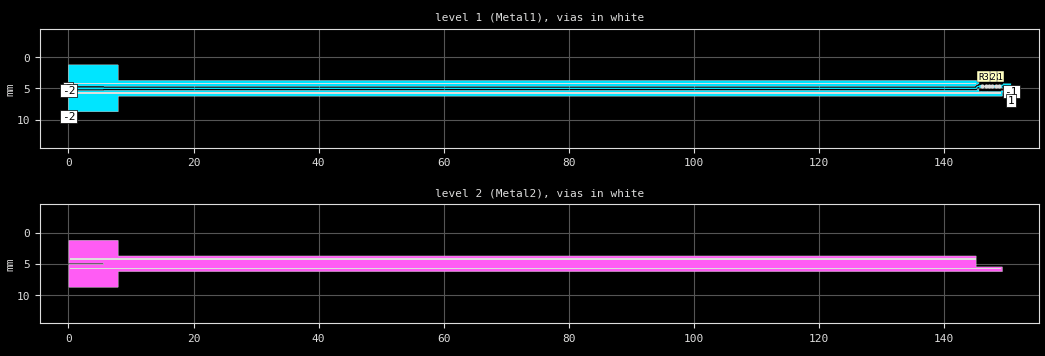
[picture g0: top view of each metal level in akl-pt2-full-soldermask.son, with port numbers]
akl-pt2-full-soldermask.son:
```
FTYP SONPROJ 18 ! Sonnet Project File
VER 17.56
HEADER
LIC antikernel2.1.50170 3cfdfeabd719 havequick azonenberg Level3Gold
DAT 01/07/2021 02:05:44
BUILT_BY_CREATED xgeom 17.56 12/23/2020 09:12:10
BUILT_BY_SAVED sonnet 17.56
MDATE 01/07/2021 02:05:44
HDATE 01/07/2021 02:05:44
ANN Created by dxfgeo, Sonnet Software Inc.
END HEADER
DIM
ANG DEG
CAP PF
CON /OH
FREQ GHZ
IND NH
LNG MM
RES OH
END DIM
CONTROL
VARSWP
OPTIONS  -dj
SPEED 1
CACHE_ABS 1
Q_ACC N
END CONTROL
GEO
TMET "Free Space" 0 FREESPACE 376.7303136 0 0 0
BMET "Free Space" 0 FREESPACE 376.7303136 0 0 0
MET "Copper 1oz thick" 1 TMM 58000000 0.5 0.035 2
MET "Copper 1oz" 2 NOR 58000000 0.5 0.035 
BOX 3 150.7 10 3014 800 20 0
      1 1 1 0 0 0 0 "Air"
      0.05 3.9 1 0.033 0 0 0 "Soldermask"
      0.1 3.3 1 0.005 0 0 0 "Panasonic F-777 42RV"
      1 1 1 0 0 0 0 "Air"
TECHLAY METAL Metal1 L1D0 -2 0 
1 0 0 T 637 1 1 100 100 0 0 0 Y
END
END
TECHLAY METAL Metal2 L2D0 -3 0 
2 0 1 N 600 1 1 100 100 0 0 0 Y
END
END
TECHLAY VIA Via1 L3D0 -4 0 
VIA POLYGON
2 0 -1 N 810 1 1 100 100 0 0 0 Y
TOLEVEL 1 RING NOCOVERS
END
END
LORGN 0 10 U 
POR1 BOX
POLY 2 1
0
2 50 0 0 0 -1.443289932e-15 5 
POR1 BOX
POLY 465 1
69
-2 50 0 0 0 0 2.9 
POR1 BOX
POLY 575 1
128
-2 50 0 0 0 0 7.1 
POR1 BOX
POLY 575 1
28
-1 50 0 0 0 150.7 5.5 
POR1 BOX
POLY 576 1
4
1 50 0 0 0 150.7 4.5 
SMD 1 "R1"
ID 377
GNDREF AUTO
SBOX 148.425 148.675 4.6625 4.7375
PBSHW N
LPOS 148.55 4.6625
TYPE SPARAM 1
SMDP 1 148.8 4.7 R 3 1 
EXSMDP
GNDREF AUTO
TERMW FEED
END EXSMDP
SMDP 1 148.3 4.7 L 4 2 
EXSMDP
GNDREF AUTO
TERMW FEED
END EXSMDP
END
SMD 1 "R2"
ID 382
GNDREF AUTO
SBOX 147.325 147.575 4.6625 4.7375
PBSHW N
LPOS 147.45 4.6625
TYPE SPARAM 1
SMDP 1 147.7 4.7 R 5 1 
EXSMDP
GNDREF AUTO
TERMW FEED
END EXSMDP
SMDP 1 147.2 4.7 L 6 2 
EXSMDP
GNDREF AUTO
TERMW FEED
END EXSMDP
END
SMD 1 "R3"
ID 387
GNDREF AUTO
SBOX 146.225 146.475 4.6625 4.7375
PBSHW N
LPOS 146.35 4.6625
TYPE SPARAM 2
SMDP 1 146.6 4.7 R 7 1 
EXSMDP
GNDREF AUTO
TERMW FEED
END EXSMDP
SMDP 1 146.1 4.7 L 8 2 
EXSMDP
GNDREF AUTO
TERMW FEED
END EXSMDP
END
NUM 9
1 31 0 T 2 1 1 100 100 0 0 0 Y
TLAYNAM Metal1 INH
USER_DAT FromImport
-1.443289932e-15 5.15
-1.443289932e-15 4.85
5.6 4.85
5.6 4.9
145.009 4.9
145.283 4.626
145.29 4.62
145.299 4.614
145.307 4.609
145.316 4.606
145.326 4.603
145.335 4.601
145.345 4.6
145.6 4.6
145.6 4.45
146.1 4.45
146.1 4.95
145.6 4.95
145.6 4.8
145.391 4.8
145.117 5.074
145.11 5.08
145.101 5.086
145.093 5.091
145.084 5.094
145.074 5.097
145.065 5.099
145.055 5.1
5.6 5.1
5.6 5.15
-1.443289932e-15 5.15
END
1 5 0 T 3 1 1 100 100 0 0 0 Y
TLAYNAM Metal1 INH
USER_DAT FromImport
146.6 4.95
146.6 4.45
147.2 4.45
147.2 4.95
146.6 4.95
END
1 5 0 T 4 1 1 100 100 0 0 0 Y
TLAYNAM Metal1 INH
USER_DAT FromImport
147.7 4.95
147.7 4.45
148.3 4.45
148.3 4.95
147.7 4.95
END
1 98 0 T 465 1 1 100 100 0 0 0 Y
TLAYNAM Metal1 INH
144.907 4.674
144.912 4.672
144.916 4.67
144.921 4.668
144.929 4.662
144.932 4.659
144.935 4.655
145.102 4.489
145.109 4.482
145.115 4.474
145.119 4.47
145.171 4.427
145.23 4.396
145.232 4.395
145.285 4.38
145.334 4.375
145.339 4.375
145.343 4.374
145.363 4.374
145.368 4.373
145.373 4.371
145.377 4.369
145.382 4.367
145.39 4.361
145.393 4.358
145.399 4.35
145.401 4.345
145.403 4.341
145.405 4.336
145.408 4.33
145.443 4.288
145.471 4.264
145.512 4.242
145.516 4.24
145.517 4.24
145.521 4.238
145.526 4.236
145.534 4.23
145.537 4.227
145.543 4.219
145.545 4.214
145.547 4.21
145.549 4.205
145.55 4.2
145.55 3.793
145.549 3.788
145.547 3.783
145.545 3.779
145.543 3.774
145.537 3.766
145.534 3.763
145.526 3.757
145.521 3.755
145.517 3.753
145.512 3.751
145.507 3.75
7.95 3.75
7.95 1.293
7.949 1.288
7.947 1.283
7.945 1.279
7.943 1.274
7.937 1.266
7.934 1.263
7.926 1.257
7.921 1.255
7.917 1.253
7.912 1.251
7.907 1.25
0 1.25
0 4.55
0.2 4.55
0.2 4.581
0.201 4.586
0.203 4.591
0.205 4.595
0.207 4.6
0.213 4.608
0.216 4.611
0.224 4.617
0.229 4.619
0.233 4.621
0.238 4.623
0.243 4.624
5.607 4.624
5.644 4.628
5.692 4.643
5.694 4.644
5.723 4.66
5.725 4.661
5.729 4.665
5.733 4.668
5.738 4.67
5.742 4.672
5.747 4.674
5.752 4.675
144.902 4.675
144.907 4.674
END
1 132 0 T 575 1 1 100 100 0 0 0 Y
TLAYNAM Metal1 INH
7.912 8.749
7.917 8.747
7.921 8.745
7.926 8.743
7.934 8.737
7.937 8.734
7.943 8.726
7.945 8.721
7.947 8.717
7.949 8.712
7.95 8.707
7.95 6.251
7.951 6.25
149.257 6.25
149.262 6.249
149.267 6.247
149.271 6.245
149.276 6.243
149.284 6.237
149.287 6.234
149.293 6.226
149.295 6.221
149.297 6.217
149.299 6.212
149.3 6.207
149.3 5.6
149.425 5.6
149.425 5.775
150.7 5.775
150.7 5.225
149.425 5.225
149.425 5.4
149.252 5.4
149.248 5.398
149.238 5.394
149.227 5.391
149.217 5.389
149.206 5.388
149.194 5.388
149.183 5.389
149.173 5.391
149.162 5.394
149.152 5.398
149.142 5.403
149.124 5.417
149.048 5.493
149.043 5.491
148.857 5.491
148.834 5.5
148.065 5.5
148.043 5.491
147.857 5.491
147.834 5.5
147.065 5.5
147.043 5.491
146.857 5.491
146.834 5.5
146.065 5.5
146.043 5.491
145.857 5.491
145.834 5.5
145.55 5.5
145.55 5.2
145.549 5.195
145.545 5.185
145.543 5.181
145.537 5.173
145.534 5.17
145.533 5.17
145.53 5.167
145.526 5.164
145.525 5.164
145.524 5.163
145.521 5.161
145.517 5.16
145.512 5.158
145.51 5.158
145.506 5.156
145.476 5.14
145.458 5.125
145.455 5.122
145.447 5.116
145.442 5.114
145.438 5.112
145.433 5.11
145.428 5.109
145.414 5.109
145.409 5.11
145.404 5.112
145.4 5.114
145.395 5.116
145.387 5.122
145.291 5.218
145.285 5.226
145.281 5.23
145.229 5.273
145.17 5.304
145.168 5.305
145.115 5.32
145.066 5.325
145.061 5.325
145.057 5.326
145.041 5.326
145.039 5.325
5.752 5.325
5.747 5.326
5.742 5.328
5.738 5.33
5.733 5.332
5.73 5.335
5.726 5.337
5.725 5.338
5.683 5.36
5.645 5.371
5.593 5.376
0.243 5.376
0.238 5.377
0.233 5.379
0.229 5.381
0.224 5.383
0.216 5.389
0.213 5.392
0.207 5.4
0.205 5.405
0.203 5.409
0.201 5.414
0.2 5.419
0.2 5.45
0 5.45
0 8.75
7.907 8.75
7.912 8.749
END
1 26 0 T 576 1 1 100 100 0 0 0 Y
TLAYNAM Metal1 INH
149.3 4.609
149.309 4.6
149.425 4.6
149.425 4.775
150.7 4.775
150.7 4.225
149.425 4.225
149.425 4.4
149.302 4.4
149.298 4.398
149.288 4.394
149.277 4.391
149.267 4.389
149.256 4.388
149.244 4.388
149.233 4.389
149.223 4.391
149.212 4.394
149.202 4.398
149.192 4.403
149.174 4.417
149.141 4.45
148.8 4.45
148.8 4.95
149.3 4.95
149.3 4.609
END
2 124 1 N 526 1 1 100 100 0 0 0 Y
TLAYNAM Metal2 INH
7.912 8.749
7.917 8.747
7.921 8.745
7.926 8.743
7.934 8.737
7.937 8.734
7.943 8.726
7.945 8.721
7.947 8.717
7.949 8.712
7.95 8.707
7.95 6.251
7.951 6.25
149.257 6.25
149.262 6.249
149.267 6.247
149.271 6.245
149.276 6.243
149.284 6.237
149.287 6.234
149.293 6.226
149.295 6.221
149.297 6.217
149.299 6.212
149.3 6.207
149.3 5.543
149.299 5.538
149.297 5.533
149.295 5.529
149.293 5.524
149.287 5.516
149.284 5.513
149.276 5.507
149.271 5.505
149.267 5.503
149.262 5.501
149.257 5.5
149.065 5.5
149.0625556 5.499
148.8365556 5.499
148.834 5.5
148.065 5.5
148.0625556 5.499
147.8365556 5.499
147.834 5.5
147.065 5.5
147.0625556 5.499
146.8365556 5.499
146.834 5.5
146.065 5.5
146.0625556 5.499
145.8365556 5.499
145.834 5.5
145.1 5.5
145.1 4.025
145.1 3.75
7.95 3.75
7.95 1.293
7.949 1.288
7.947 1.283
7.945 1.279
7.943 1.274
7.937 1.266
7.934 1.263
7.926 1.257
7.921 1.255
7.917 1.253
7.912 1.251
7.907 1.25
0.118 1.25
0.113 1.251
0.108 1.253
0.104 1.255
0.099 1.257
0.091 1.263
0.088 1.266
0.082 1.274
0.08 1.279
0.078 1.283
0.076 1.288
0.075 1.293
0.075 4.857
0.076 4.862
0.078 4.867
0.08 4.871
0.082 4.876
0.088 4.884
0.091 4.887
0.099 4.893
0.104 4.895
0.108 4.897
0.113 4.899
0.118 4.9
5.599 4.9
5.599 4.901
5.6 4.901
5.6 5.099
5.599 5.1
0.118 5.1
0.113 5.101
0.108 5.103
0.104 5.105
0.099 5.107
0.091 5.113
0.088 5.116
0.082 5.124
0.08 5.129
0.078 5.133
0.076 5.138
0.075 5.143
0.075 8.707
0.076 8.712
0.078 8.717
0.08 8.721
0.082 8.726
0.088 8.734
0.091 8.737
0.099 8.743
0.104 8.745
0.108 8.747
0.113 8.749
0.118 8.75
7.907 8.75
7.912 8.749
END
VIA POLYGON
2 5 -1 N 87 1 1 100 100 0 0 0 Y
TOLEVEL 1 RING NOCOVERS
TLAYNAM Via1 INH
USER_DAT FromImport
0.2 4.375
0.2 4.125
145 4.125
145 4.375
0.2 4.375
END
VIA POLYGON
2 5 -1 N 158 1 1 100 100 0 0 0 Y
TOLEVEL 1 RING NOCOVERS
TLAYNAM Via1 INH
USER_DAT FromImport
0.216 5.875
0.216 5.625
149.05 5.625
149.05 5.875
0.216 5.875
END
END GEO
SUBDIV
MAIN $BASENAME_net.son
REFPLANE N 0
NAME 1 $BASENAME_net_s1.son
NAME 2 $BASENAME_net_s2.son
LINE 1 75 V 
END SUBDIV
OPT
MAX 100
END OPT
VARSWP
ENABLED Y
FREQ Y AY ABS_ENTRY 0.1 10.0 -1 300 
END
END VARSWP
SMDFILES
1 "../../../../../../share/datasheets/Vishay/Resistors/FC/0402/FC0402-FlipChip-200 Ohm.s2p"
2 "../../../../../../share/datasheets/Vishay/Resistors/FC/0402/FC0402-FlipChip-50 Ohm.s2p"
END SMDFILES
```
